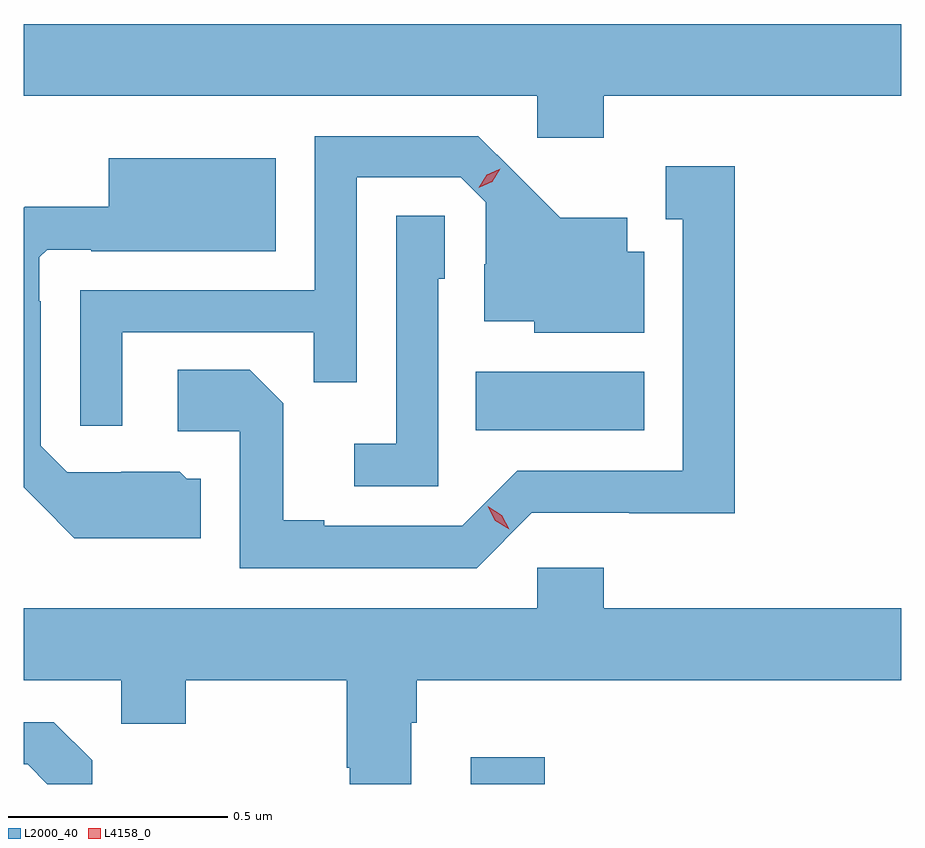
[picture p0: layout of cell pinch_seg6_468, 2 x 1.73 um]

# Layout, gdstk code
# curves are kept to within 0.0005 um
import gdstk
lib = gdstk.Library(unit=1e-6, precision=1e-09)
def R(c, l, rs):  # rectangles x0, y0, x1, y1
    for r in rs: c.add(gdstk.rectangle(r[:2], r[2:], *l))
def P(c, l, *ps):  # polygons
    for p in ps: c.add(gdstk.Polygon(p, *l))
L2000_40 = (2000, 40)
L4158_0 = (4158, 0)

pinch_seg6_468 = lib.new_cell('pinch_seg6_468')
R(pinch_seg6_468, L2000_40, [(714.113,931.116,714.281,931.177), (714.124,931.922,714.508,932.056)])
P(pinch_seg6_468, L2000_40, [(714.416,932.684),(715.094,932.684),(715.094,932.848),(713.094,932.848),(713.094,932.684),(714.264,932.684),(714.264,932.589),(714.416,932.589)],
  [(713.319,932.145),(713.755,932.145),(713.755,932.032),(713.853,932.032),(713.853,932.499),(714.09,932.499),(714.147,932.442),(714.147,932.3),(714.143,932.3),(714.143,932.171),(714.258,932.171),(714.258,932.144),(714.508,932.144),(714.508,932.329),(714.469,932.329),(714.469,932.407),(714.317,932.407),(714.13,932.592),(713.757,932.592),(713.757,932.241),(713.223,932.241),(713.223,931.932),(713.319,931.932)],
  [(713.497,931.812),(713.466,931.812),(713.45,931.828),(713.316,931.828),(713.316,931.827),(713.193,931.827),(713.133,931.887),(713.133,932.216),(713.13,932.216),(713.13,932.316),(713.148,932.334),(713.248,932.334),(713.248,932.33),(713.668,932.33),(713.668,932.542),(713.288,932.542),(713.288,932.431),(713.096,932.431),(713.094,932.429),(713.094,931.792),(713.209,931.676),(713.497,931.676)],
  [(714.252,931.734),(714.474,931.734),(714.474,931.733),(714.715,931.733),(714.715,932.524),(714.557,932.524),(714.557,932.403),(714.596,932.403),(714.596,931.83),(714.219,931.83),(714.093,931.704),(713.779,931.704),(713.779,931.717),(713.685,931.717),(713.685,931.984),(713.609,932.06),(713.445,932.06),(713.445,931.92),(713.586,931.92),(713.586,931.608),(714.126,931.608)],
  [(714.039,932.268),(714.054,932.268),(714.054,932.411),(713.943,932.411),(713.943,931.891),(713.847,931.891),(713.847,931.794),(714.039,931.794)],
  [(713.977,931.256),(713.99,931.256),(713.99,931.352),(715.094,931.352),(715.094,931.516),(714.416,931.516),(714.416,931.609),(714.264,931.609),(714.264,931.516),(713.094,931.516),(713.094,931.352),(713.316,931.352),(713.316,931.253),(713.463,931.253),(713.463,931.352),(713.83,931.352),(713.83,931.153),(713.837,931.153),(713.837,931.116),(713.977,931.116)],
  [(713.25,931.17),(713.163,931.257),(713.094,931.257),(713.094,931.161),(713.103,931.161),(713.148,931.116),(713.25,931.116)])
P(pinch_seg6_468, L4158_0, [(714.131,932.475),(714.131,932.475),(714.149,932.504),(714.18,932.518),(714.18,932.518),(714.18,932.518),(714.162,932.489),(714.131,932.475)],
  [(714.2,931.696),(714.169,931.716),(714.151,931.749),(714.151,931.749),(714.152,931.749),(714.183,931.729),(714.201,931.697),(714.201,931.696)])

lib.write_gds('pinch_seg6_468.gds')
